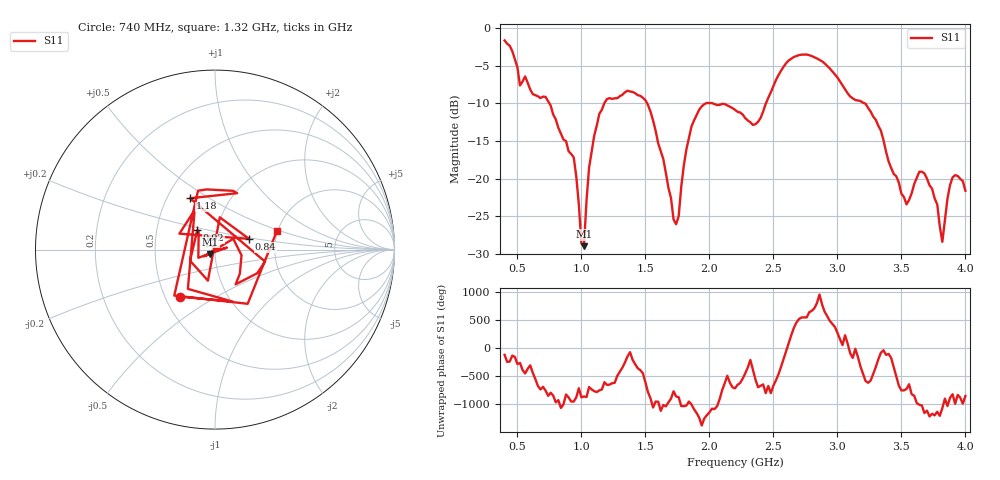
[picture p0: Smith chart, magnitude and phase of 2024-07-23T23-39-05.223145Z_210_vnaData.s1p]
!Created with skrf (http://scikit-rf.org).
# Hz S RI R 50.0
!freq ReS11 ImS11
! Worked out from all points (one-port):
!   181 points, 400 MHz to 4 GHz, reference 50 ohm
!   lowest |S11| = -29.0 dB at 1.02 GHz (marker M1), VSWR 1.07, Z = 47.4 - j2.28 ohm
!   |S11| at or under -10 dB: 749.6 MHz to 1.179 GHz (429.2 MHz wide, 44.5 % of centre); 1.513 GHz to 1.973 GHz (459.8 MHz wide, 26.4 % of centre); 3.213 GHz to end of sweep (the widest 3 of 4)
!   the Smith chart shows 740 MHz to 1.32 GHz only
!   S11 on the Smith chart (normalised r, x): 740 MHz: 0.60, -0.35; 840 MHz: 1.45, +0.18; 920 MHz: 0.80, +0.18; 1.18 GHz: 0.65, +0.41; 1.32 GHz: 1.98, +0.47
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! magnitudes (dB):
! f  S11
! 400 MHz  -1.7
! 520 MHz  -7.6
! 740 MHz  -9.7
! 840 MHz  -14.0
! 860 MHz  -14.8
! 920 MHz  -16.7
! 1 GHz  -28.6
! 1.02 GHz  -29.0
! 1.06 GHz  -18.5
! 1.18 GHz  -9.9
! 1.3 GHz  -9.1
! 1.32 GHz  -8.9
! 1.52 GHz  -10.2
! 1.72 GHz  -25.4
! 1.76 GHz  -25.0
! 1.82 GHz  -16.1
! 1.92 GHz  -10.8
! 2.2 GHz  -10.9
! 2.36 GHz  -12.8
! 2.66 GHz  -3.8
! 3.1 GHz  -9.1
! 3.3 GHz  -12.2
! 3.56 GHz  -22.8
! 3.68 GHz  -19.3
! 3.78 GHz  -23.4
! 3.82 GHz  -28.4
! 3.9 GHz  -19.8
! 4 GHz  -21.6
